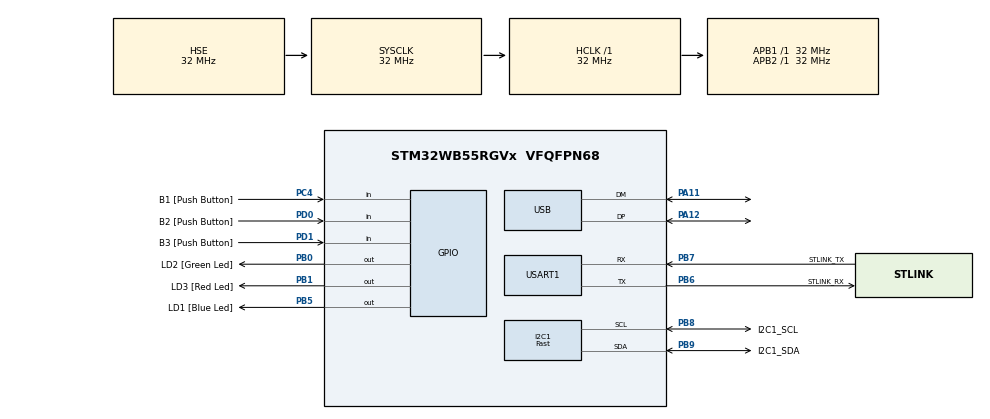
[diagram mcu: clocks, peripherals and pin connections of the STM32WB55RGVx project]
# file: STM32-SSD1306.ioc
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I2C1.CustomTiming=Disabled
I2C1.I2C_Speed_Mode=I2C_Fast
I2C1.Timing=0x00300F38
Mcu.Family=STM32WB
Mcu.Name=STM32WB55RGVx
Mcu.Package=VFQFPN68
NVIC.PriorityGroup=NVIC_PRIORITYGROUP_4
OSC_IN.Mode=HSE-External-Oscillator
OSC_IN.Signal=RCC_OSC_IN
OSC_OUT.Mode=HSE-External-Oscillator
OSC_OUT.Signal=RCC_OSC_OUT
PA11.Mode=Device
PA11.Signal=USB_DM
PA12.Mode=Device
PA12.Signal=USB_DP
PA13.GPIO_Label=JTMS
PA13.Mode=Trace_Asynchronous_SW
PA13.Signal=SYS_JTMS-SWDIO
PA14.GPIO_Label=JTCK
PA14.Mode=Trace_Asynchronous_SW
PA14.Signal=SYS_JTCK-SWCLK
PB0.GPIO_Label=LD2 [Green Led]
PB0.Signal=GPIO_Output
PB1.GPIO_Label=LD3 [Red Led]
PB1.Signal=GPIO_Output
PB3.GPIO_Label=JTDO
PB3.Mode=Trace_Asynchronous_SW
PB3.Signal=SYS_JTDO-SWO
PB5.GPIO_Label=LD1 [Blue Led]
PB5.Signal=GPIO_Output
PB6.GPIO_Label=STLINK_RX
PB6.Mode=Asynchronous
PB6.Signal=USART1_TX
PB7.GPIO_Label=STLINK_TX
PB7.Mode=Asynchronous
PB7.Signal=USART1_RX
PB8.GPIO_Label=I2C1_SCL
PB8.Mode=I2C
PB8.Signal=I2C1_SCL
PB9.GPIO_Label=I2C1_SDA
PB9.Mode=I2C
PB9.Signal=I2C1_SDA
PC13.Mode=SYS_WakeUp1
PC13.Signal=SYS_WKUP2
PC14-OSC32_IN.Mode=LSE-External-Oscillator
PC14-OSC32_IN.Signal=RCC_OSC32_IN
PC15-OSC32_OUT.Mode=LSE-External-Oscillator
PC15-OSC32_OUT.Signal=RCC_OSC32_OUT
PC4.GPIO_Label=B1 [Push Button]
PC4.Signal=GPIO_Input
PD0.GPIO_Label=B2 [Push Button]
PD0.Signal=GPIO_Input
PD1.GPIO_Label=B3 [Push Button]
PD1.Signal=GPIO_Input
ProjectManager.HeapSize=0x200
ProjectManager.StackSize=0x400
ProjectManager.TargetToolchain=TrueSTUDIO
RCC.ADCFreq_Value=48000000
RCC.AHBFreq_Value=32000000
RCC.APB1Freq_Value=32000000
RCC.APB1TimFreq_Value=32000000
RCC.APB2Freq_Value=32000000
RCC.APB2TimFreq_Value=32000000
RCC.APB3Freq_Value=16000000
RCC.CortexFreq_Value=32000000
RCC.HCLKFreq_Value=32000000
RCC.HSE_VALUE=32000000
RCC.HSI48_VALUE=48000000
RCC.HSI_VALUE=16000000
RCC.PLLN=32
RCC.PLLSAI1N=24
RCC.SMPSCLockSelectionVirtual=RCC_SMPSCLKSOURCE_HSI
RCC.SYSCLKFreq_VALUE=32000000
RCC.SYSCLKSource=RCC_SYSCLKSOURCE_HSE
RCC.USBFreq_Value=48000000
RCC.VCOOutputFreq_Value=128000000
USART1.VirtualMode-Asynchronous=VM_ASYNC
board=P-NUCLEO-WB55-Nucleo

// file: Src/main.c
/* USER CODE BEGIN Header */
/**
  ******************************************************************************
  * @file           : main.c
  * @brief          : Main program body
  ******************************************************************************
  * @attention
  *
  * <h2><center>&copy; Copyright (c) 2019 STMicroelectronics.
  * All rights reserved.</center></h2>
  *
  * This software component is licensed by ST under BSD 3-Clause license,
  * the "License"; You may not use this file except in compliance with the
  * License. You may obtain a copy of the License at:
  *                        opensource.org/licenses/BSD-3-Clause
  *
  ******************************************************************************
  */
/* USER CODE END Header */

#include "main.h"

/* USER CODE BEGIN Includes */
#include "ssd1306.h"
#include "fonts.h"
#include "test.h"
#include "panel.h"
/* USER CODE END Includes */

I2C_HandleTypeDef hi2c1;

UART_HandleTypeDef huart1;

PCD_HandleTypeDef hpcd_USB_FS;

void SystemClock_Config(void);
static void MX_GPIO_Init(void);
static void MX_I2C1_Init(void);
static void MX_USART1_UART_Init(void);
static void MX_USB_PCD_Init(void);

int main(void)
{

  /* MCU Configuration--------------------------------------------------------*/

  /* Reset of all peripherals, Initializes the Flash interface and the Systick. */
  HAL_Init();

  /* Configure the system clock */
  SystemClock_Config();

  /* Initialize all configured peripherals */
  MX_GPIO_Init();
  MX_I2C1_Init();
  MX_USART1_UART_Init();
  MX_USB_PCD_Init();
  /* USER CODE BEGIN 2 */
  SSD1306_Init (); // initialize the diaply

//  SSD1306_GotoXY (0, 0); // goto 10, 10
//  SSD1306_Puts ("HELLO", &Font_11x18, 1); // print Hello
//  SSD1306_GotoXY (10, 30);
//  SSD1306_Puts ("WORLD !!", &Font_7x10, 1);
//  SSD1306_UpdateScreen(); // update screen
//  SSD1306_ScrollLeft(0, 18);

  /* USER CODE END 2 */

  /* Infinite loop */
  while (1)
  {

    /* USER CODE BEGIN 3 */
	  drawPanel("ADDRESS", "192.168.0.150");
	  HAL_GPIO_TogglePin(LD1_GPIO_Port, LD1_Pin);
	  HAL_Delay(1500);
	  drawPanel("GATEWAY", "192.168.0.1");
	  HAL_GPIO_TogglePin(LD1_GPIO_Port, LD1_Pin);
	  HAL_GPIO_TogglePin(LD2_GPIO_Port, LD2_Pin);
	  HAL_Delay(1500);
	  drawPanel("NETMASK", "255.255.255.255");
	  HAL_GPIO_TogglePin(LD2_GPIO_Port, LD2_Pin);
	  HAL_GPIO_TogglePin(LD3_GPIO_Port, LD3_Pin);
	  HAL_Delay(1500);
	  drawPanel("RTC TIME", "15:42:15 UTC");
	  HAL_GPIO_TogglePin(LD3_GPIO_Port, LD3_Pin);
	  HAL_Delay(1500);
	  HAL_GPIO_TogglePin(LD3_GPIO_Port, LD3_Pin);

  }
  /* USER CODE END 3 */
}

void SystemClock_Config(void)
{
  RCC_OscInitTypeDef RCC_OscInitStruct = {0};
  RCC_ClkInitTypeDef RCC_ClkInitStruct = {0};
  RCC_PeriphCLKInitTypeDef PeriphClkInitStruct = {0};

  /** Macro to configure the PLL multiplication factor
  */
  __HAL_RCC_PLL_PLLM_CONFIG(RCC_PLLM_DIV1);
  /** Macro to configure the PLL clock source
  */
  __HAL_RCC_PLL_PLLSOURCE_CONFIG(RCC_PLLSOURCE_MSI);
  /** Configure LSE Drive Capability
  */
  __HAL_RCC_LSEDRIVE_CONFIG(RCC_LSEDRIVE_LOW);
  /** Configure the main internal regulator output voltage
  */
  __HAL_PWR_VOLTAGESCALING_CONFIG(PWR_REGULATOR_VOLTAGE_SCALE1);
  /** Initializes the CPU, AHB and APB busses clocks
  */
  RCC_OscInitStruct.OscillatorType = RCC_OSCILLATORTYPE_HSI|RCC_OSCILLATORTYPE_HSE
                              |RCC_OSCILLATORTYPE_LSE|RCC_OSCILLATORTYPE_MSI;
  RCC_OscInitStruct.HSEState = RCC_HSE_ON;
  RCC_OscInitStruct.LSEState = RCC_LSE_ON;
  RCC_OscInitStruct.HSIState = RCC_HSI_ON;
  RCC_OscInitStruct.MSIState = RCC_MSI_ON;
  RCC_OscInitStruct.HSICalibrationValue = RCC_HSICALIBRATION_DEFAULT;
  RCC_OscInitStruct.MSICalibrationValue = RCC_MSICALIBRATION_DEFAULT;
  RCC_OscInitStruct.MSIClockRange = RCC_MSIRANGE_6;
  RCC_OscInitStruct.PLL.PLLState = RCC_PLL_NONE;
  if (HAL_RCC_OscConfig(&RCC_OscInitStruct) != HAL_OK)
  {
    Error_Handler();
  }
  /** Configure the SYSCLKSource, HCLK, PCLK1 and PCLK2 clocks dividers
  */
  RCC_ClkInitStruct.ClockType = RCC_CLOCKTYPE_HCLK4|RCC_CLOCKTYPE_HCLK2
                              |RCC_CLOCKTYPE_HCLK|RCC_CLOCKTYPE_SYSCLK
                              |RCC_CLOCKTYPE_PCLK1|RCC_CLOCKTYPE_PCLK2;
  RCC_ClkInitStruct.SYSCLKSource = RCC_SYSCLKSOURCE_HSE;
  RCC_ClkInitStruct.AHBCLKDivider = RCC_SYSCLK_DIV1;
  RCC_ClkInitStruct.APB1CLKDivider = RCC_HCLK_DIV1;
  RCC_ClkInitStruct.APB2CLKDivider = RCC_HCLK_DIV1;
  RCC_ClkInitStruct.AHBCLK2Divider = RCC_SYSCLK_DIV1;
  RCC_ClkInitStruct.AHBCLK4Divider = RCC_SYSCLK_DIV1;

  if (HAL_RCC_ClockConfig(&RCC_ClkInitStruct, FLASH_LATENCY_1) != HAL_OK)
  {
    Error_Handler();
  }
  /** Initializes the peripherals clocks
  */
  PeriphClkInitStruct.PeriphClockSelection = RCC_PERIPHCLK_SMPS|RCC_PERIPHCLK_USART1
                              |RCC_PERIPHCLK_I2C1|RCC_PERIPHCLK_USB;
  PeriphClkInitStruct.PLLSAI1.PLLN = 24;
  PeriphClkInitStruct.PLLSAI1.PLLP = RCC_PLLP_DIV2;
  PeriphClkInitStruct.PLLSAI1.PLLQ = RCC_PLLQ_DIV2;
  PeriphClkInitStruct.PLLSAI1.PLLR = RCC_PLLR_DIV2;
  PeriphClkInitStruct.PLLSAI1.PLLSAI1ClockOut = RCC_PLLSAI1_USBCLK;
  PeriphClkInitStruct.Usart1ClockSelection = RCC_USART1CLKSOURCE_PCLK2;
  PeriphClkInitStruct.I2c1ClockSelection = RCC_I2C1CLKSOURCE_PCLK1;
  PeriphClkInitStruct.UsbClockSelection = RCC_USBCLKSOURCE_PLLSAI1;
  PeriphClkInitStruct.SmpsClockSelection = RCC_SMPSCLKSOURCE_HSI;
  PeriphClkInitStruct.SmpsDivSelection = RCC_SMPSCLKDIV_RANGE1;

  if (HAL_RCCEx_PeriphCLKConfig(&PeriphClkInitStruct) != HAL_OK)
  {
    Error_Handler();
  }
  /** Enable MSI Auto calibration
  */
  HAL_RCCEx_EnableMSIPLLMode();
}

static void MX_I2C1_Init(void)
{

  hi2c1.Instance = I2C1;
  hi2c1.Init.Timing = 0x00300F38;
  hi2c1.Init.OwnAddress1 = 0;
  hi2c1.Init.AddressingMode = I2C_ADDRESSINGMODE_7BIT;
  hi2c1.Init.DualAddressMode = I2C_DUALADDRESS_DISABLE;
  hi2c1.Init.OwnAddress2 = 0;
  hi2c1.Init.OwnAddress2Masks = I2C_OA2_NOMASK;
  hi2c1.Init.GeneralCallMode = I2C_GENERALCALL_DISABLE;
  hi2c1.Init.NoStretchMode = I2C_NOSTRETCH_DISABLE;
  if (HAL_I2C_Init(&hi2c1) != HAL_OK)
  {
    Error_Handler();
  }
  /** Configure Analogue filter
  */
  if (HAL_I2CEx_ConfigAnalogFilter(&hi2c1, I2C_ANALOGFILTER_ENABLE) != HAL_OK)
  {
    Error_Handler();
  }
  /** Configure Digital filter
  */
  if (HAL_I2CEx_ConfigDigitalFilter(&hi2c1, 0) != HAL_OK)
  {
    Error_Handler();
  }

}

static void MX_USART1_UART_Init(void)
{

  huart1.Instance = USART1;
  huart1.Init.BaudRate = 115200;
  huart1.Init.WordLength = UART_WORDLENGTH_7B;
  huart1.Init.StopBits = UART_STOPBITS_1;
  huart1.Init.Parity = UART_PARITY_NONE;
  huart1.Init.Mode = UART_MODE_TX_RX;
  huart1.Init.HwFlowCtl = UART_HWCONTROL_NONE;
  huart1.Init.OverSampling = UART_OVERSAMPLING_16;
  huart1.Init.OneBitSampling = UART_ONE_BIT_SAMPLE_DISABLE;
  huart1.Init.ClockPrescaler = UART_PRESCALER_DIV1;
  huart1.AdvancedInit.AdvFeatureInit = UART_ADVFEATURE_NO_INIT;
  if (HAL_UART_Init(&huart1) != HAL_OK)
  {
    Error_Handler();
  }
  if (HAL_UARTEx_SetTxFifoThreshold(&huart1, UART_TXFIFO_THRESHOLD_1_8) != HAL_OK)
  {
    Error_Handler();
  }
  if (HAL_UARTEx_SetRxFifoThreshold(&huart1, UART_RXFIFO_THRESHOLD_1_8) != HAL_OK)
  {
    Error_Handler();
  }
  if (HAL_UARTEx_DisableFifoMode(&huart1) != HAL_OK)
  {
    Error_Handler();
  }

}

static void MX_USB_PCD_Init(void)
{

  hpcd_USB_FS.Instance = USB;
  hpcd_USB_FS.Init.dev_endpoints = 8;
  hpcd_USB_FS.Init.speed = PCD_SPEED_FULL;
  hpcd_USB_FS.Init.phy_itface = PCD_PHY_EMBEDDED;
  hpcd_USB_FS.Init.Sof_enable = DISABLE;
  hpcd_USB_FS.Init.low_power_enable = DISABLE;
  hpcd_USB_FS.Init.lpm_enable = DISABLE;
  hpcd_USB_FS.Init.battery_charging_enable = DISABLE;
  if (HAL_PCD_Init(&hpcd_USB_FS) != HAL_OK)
  {
    Error_Handler();
  }

}

static void MX_GPIO_Init(void)
{
  GPIO_InitTypeDef GPIO_InitStruct = {0};

  /* GPIO Ports Clock Enable */
  __HAL_RCC_GPIOC_CLK_ENABLE();
  __HAL_RCC_GPIOB_CLK_ENABLE();
  __HAL_RCC_GPIOA_CLK_ENABLE();
  __HAL_RCC_GPIOD_CLK_ENABLE();

  /*Configure GPIO pin Output Level */
  HAL_GPIO_WritePin(GPIOB, LD2_Pin|LD3_Pin|LD1_Pin, GPIO_PIN_RESET);

  /*Configure GPIO pin : B1_Pin */
  GPIO_InitStruct.Pin = B1_Pin;
  GPIO_InitStruct.Mode = GPIO_MODE_INPUT;
  GPIO_InitStruct.Pull = GPIO_NOPULL;
  HAL_GPIO_Init(B1_GPIO_Port, &GPIO_InitStruct);

  /*Configure GPIO pins : LD2_Pin LD3_Pin LD1_Pin */
  GPIO_InitStruct.Pin = LD2_Pin|LD3_Pin|LD1_Pin;
  GPIO_InitStruct.Mode = GPIO_MODE_OUTPUT_PP;
  GPIO_InitStruct.Pull = GPIO_NOPULL;
  GPIO_InitStruct.Speed = GPIO_SPEED_FREQ_LOW;
  HAL_GPIO_Init(GPIOB, &GPIO_InitStruct);

  /*Configure GPIO pins : B2_Pin B3_Pin */
  GPIO_InitStruct.Pin = B2_Pin|B3_Pin;
  GPIO_InitStruct.Mode = GPIO_MODE_INPUT;
  GPIO_InitStruct.Pull = GPIO_NOPULL;
  HAL_GPIO_Init(GPIOD, &GPIO_InitStruct);

}

void Error_Handler(void)
{
}

/************************ (C) COPYRIGHT STMicroelectronics *****END OF FILE****/
